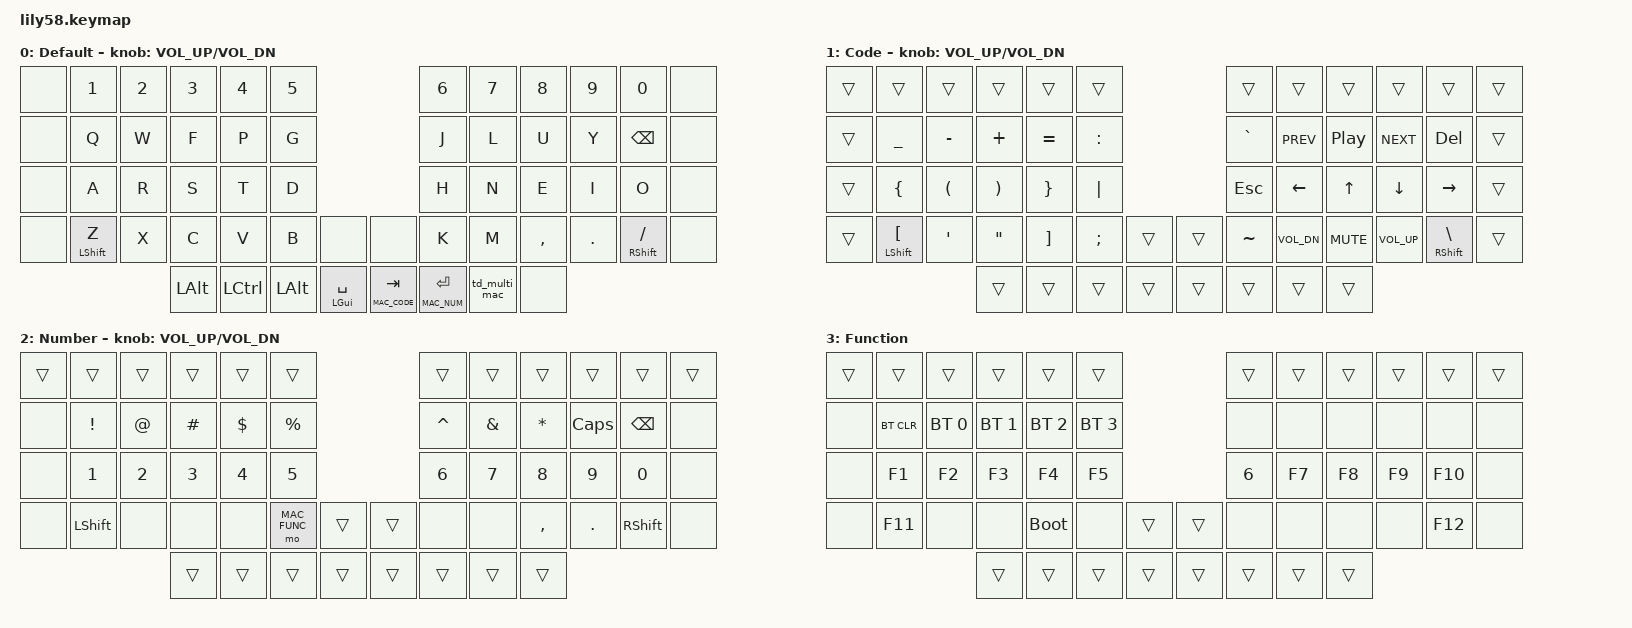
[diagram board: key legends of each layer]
/*
 * Copyright (c) 2020 The ZMK Contributors
 *
 * SPDX-License-Identifier: MIT
 */

#include <behaviors.dtsi>
#include <dt-bindings/zmk/bt.h>
#include <dt-bindings/zmk/keys.h>

// Layers
#define MAC 0
#define MAC_CODE 1
#define MAC_NUM 2
#define MAC_FUNC 3

// Behavior Overrides
&lt {
    tapping-term-ms = <200>;
    flavor = "hold-preferred";
};

/ {
    macros {
        spotlight: spotlight {
            label = "spotlight";
            compatible = "zmk,behavior-macro";
            #binding-cells = <0>;
            bindings = <&macro_press &kp LGUI>, <&macro_tap &kp SPACE>, <&macro_release &kp LGUI>; 
        };

        // Emoji
        mac_emoji: mac_emoji {
            label = "mac_emoji";
            compatible = "zmk,behavior-macro";
            #binding-cells = <0>;
            bindings = <&macro_press &kp LGUI>, <&macro_press &kp LCTRL>, <&macro_tap &kp SPACE>, <&macro_release &kp LCTRL>, <&macro_release &kp LGUI>; 
        };
    };

    behaviors {
        td_multi_mac: tap_dance_multi_mac {
            compatible = "zmk,behavior-tap-dance";
            label = "TAP_DANCE_MULTI_MAC";
            #binding-cells = <0>;
            tapping-term-ms = <200>;
            bindings = <&kp ESC>, <&spotlight>, <&mac_emoji>;
        };

        bm: bottom_row_mods {
            compatible = "zmk,behavior-hold-tap";
            label = "BOTTOM_ROW_MODS";
            #binding-cells = <2>;
            tapping-term-ms = <135>;
            quick-tap-ms = <0>;
            flavor = "tap-preferred";
            bindings = <&kp>, <&kp>;
        };

        cm: code_row_mods {
            compatible = "zmk,behavior-hold-tap";
            label = "CODE_ROW_MODS";
            #binding-cells = <2>;
            tapping-term-ms = <200>;
            quick-tap-ms = <0>;
            flavor = "tap-preferred";
            bindings = <&kp>, <&kp>;
            retro-tap;
        };

        sm: space_mod {
            compatible = "zmk,behavior-hold-tap";
            label = "SPACE_MOD";
            #binding-cells = <2>;
            flavor = "balanced";
            tapping-term-ms = <200>;
            quick-tap-ms = <125>;
            bindings = <&kp>, <&kp>;
        };
    };

    keymap {
        compatible = "zmk,keymap";

        mac_default_layer {
            // ------------------------------------------------------------------------------------------------------------
            // |  ESC  |  1  |  2  |  3   |  4   |  5   |                   |  6   |  7    |  8    |  9   |   0   |   `   |
            // |  TAB  |  Q  |  W  |  E   |  R   |  T   |                   |  Y   |  U    |  I    |  O   |   P   |   -   |
            // |  CTRL |  A  |  S  |  D   |  F   |  G   |                   |  H   |  J    |  K    |  L   |   ;   |   '   |
            // | SHIFT |  Z  |  X  |  C   |  V   |  B   |   "["  |  |  "]"  |  N   |  M    |  ,    |  .   |   /   | SHIFT |
            //                     | ALT  | GUI  | LOWER|  SPACE |  | ENTER | RAISE| BSPC  | GUI   |

            label = "Default";
            bindings = <
&none  &kp N1            &kp N2  &kp N3    &kp N4    &kp N5                                       &kp N6       &kp N7  &kp N8     &kp N9   &kp N0                &none
&none  &kp Q             &kp W   &kp F     &kp P     &kp G                                        &kp J        &kp L   &kp U      &kp Y    &kp BACKSPACE         &none
&none  &kp A             &kp R   &kp S     &kp T     &kp D                                        &kp H        &kp N   &kp E      &kp I    &kp O                 &none
&none  &bm LSHFT Z  &kp X   &kp C     &kp V     &kp B   &none                     &none      &kp K        &kp M   &kp COMMA  &kp DOT  &bm RSHFT FSLH        &none
                                 &kp LALT  &kp LCTRL      &kp LALT      &sm LGUI SPACE      &lt MAC_CODE TAB      &lt MAC_NUM ENTER      &td_multi_mac      &none
            >;

            sensor-bindings = <&inc_dec_kp C_VOL_UP C_VOL_DN>;
        };

        mac_code_layer {
            // ------------------------------------------------------------------------------------------------------------
            // | BTCLR | BT1 | BT2 |  BT3 |  BT4 |  BT5 |                   |      |       |       |      |       |       |
            // |  F1   |  F2 |  F3 |  F4  |  F5  |  F6  |                   |  F7  |  F8   |  F9   |  F10 |  F11  |  F12  |
            // |   `   |  !  |  @  |  #   |  $   |  %   |                   |  ^   |  &    |  *    |  (   |   )   |   ~   |
            // |       |     |     |      |      |      |        |  |       |      |  _    |  +    |  {   |   }   |  "|"  |
            //                     |      |      |      |        |  |       |      |       |       |

            label = "Code";
            bindings = <
&trans     &trans              &trans        &trans         &trans         &trans                           &trans         &trans            &trans             &trans            &trans              &trans 
&trans     &kp UNDER           &kp MINUS     &kp PLUS       &kp EQUAL      &kp COLON                        &kp GRAVE      &kp C_PREV        &kp C_PP           &kp C_NEXT        &kp DEL             &trans
&trans     &kp LBRC            &kp LPAR      &kp RPAR       &kp RBRC       &kp PIPE                         &kp ESC        &kp LEFT          &kp UP             &kp DOWN          &kp RIGHT           &trans
&trans     &cm LSHFT LBKT      &kp APOS      &kp DQT        &kp RBKT       &kp SEMI   &trans &trans         &kp TILDE      &kp C_VOL_DN      &kp C_MUTE         &kp C_VOL_UP      &cm RSHFT BSLH      &trans
                                        &trans &trans &trans &trans &trans &trans &trans &trans 
            >;

            sensor-bindings = <&inc_dec_kp C_VOL_UP C_VOL_DN>;
        };

        mac_number_layer {
            // ------------------------------------------------------------------------------------------------------------
            // |       |     |     |      |      |      |                   |      |       |       |      |       |       |
            // |   `   |  1  |  2  |  3   |  4   |  5   |                   |  6   |   7   |   8   |  9   |   0   |       |
            // |   F1  |  F2 |  F3 |  F4  |  F5  |  F6  |                   |      |   <-  |   v   |  ^   |  ->   |       |
            // |   F7  |  F8 |  F9 |  F10 |  F11 |  F12 |        |  |       |  +   |   -   |   =   |  [   |   ]   |   \   |
            //                     |      |      |      |        |  |       |      |       |       |

            label = "Number";
            bindings = <
&trans     &trans              &trans        &trans         &trans         &trans                           &trans         &trans            &trans             &trans            &trans              &trans 
&none      &kp EXCL       &kp AT      &kp HASH       &kp DLLR      &kp PRCNT           &kp CARET      &kp AMPS      &kp ASTERISK       &kp CAPS      &kp BSPC       &none
                &none      &kp N1         &kp N2      &kp N3         &kp N4        &kp N5              &kp N6         &kp N7        &kp N8             &kp N9        &kp N0         &none
                &none      &kp LSHFT      &none       &none          &none         &mo MAC_FUNC &trans &trans       &none          &none         &kp COMMA          &kp DOT       &kp RSHFT      &none
                                        &trans &trans &trans &trans &trans &trans &trans &trans 
            >;

            sensor-bindings = <&inc_dec_kp C_VOL_UP C_VOL_DN>;
        };

        mac_function_layer {
            label = "Function";
            bindings =<
                &trans     &trans              &trans        &trans         &trans         &trans                           &trans         &trans            &trans             &trans            &trans              &trans 
&none      &bt BT_CLR      &bt BT_SEL 0      &bt BT_SEL 1      &bt BT_SEL 2      &bt BT_SEL 3        &none      &none       &none              &none       &none      &none
                &none      &kp F1          &kp F2            &kp F3            &kp F4            &kp F5              &kp 6      &kp F7      &kp F8             &kp F9      &kp F10      &none
                &none      &kp F11         &none             &none             &bootloader       &none       &trans &trans        &none      &none       &none              &none       &kp F12      &none
                                        &trans &trans &trans &trans &trans &trans &trans &trans 
            >;
        };
    };
};
